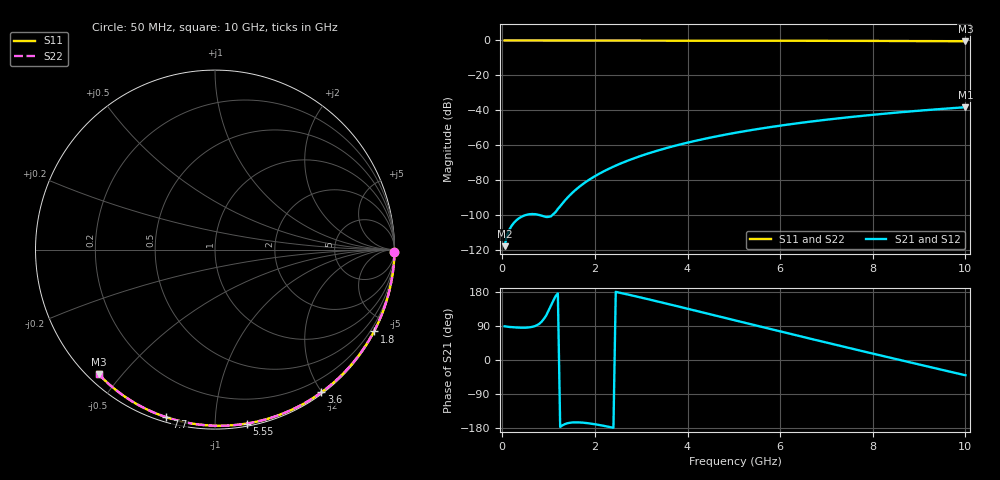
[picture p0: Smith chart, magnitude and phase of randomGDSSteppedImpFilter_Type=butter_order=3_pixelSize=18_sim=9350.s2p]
! freq	dB(S11)	phase(S11)	dB(S12)	phase(S12)
!  dB(S21)	phase(S21)	dB(S22)	phase(S22)
!S-par simulation data
#  GHz  S  DB  R 50
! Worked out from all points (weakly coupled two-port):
!   200 points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, 50 MHz to 10 GHz, reference 50 ohm
!   highest |S21| = -38.30 dB at 10 GHz (marker M1); lowest = -118.0 dB at 50 MHz (marker M2)
!   lowest |S11| = -0.4 dB at 10 GHz (marker M3), VSWR 38.72, Z = 1.54 - j21.8 ohm
!   |S11| at or under -10 dB: nowhere
!   |S22| runs from -0.4 to 0.0 dB; largest |S21 - S12| = 0
!   S11 on the Smith chart (normalised r, x): 50 MHz: open; 1.8 GHz: 0.04, -4.13; 3.6 GHz: 0.02, -1.99; 5.55 GHz: 0.02, -1.20; 7.7 GHz: 0.02, -0.75; 10 GHz: 0.03, -0.44
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0.05  -0.00 -0.8  -117.98 88.9  -117.98 88.9  -0.00 -0.8
0.9  -0.02 -13.8  -100.95 109.0  -100.95 109.0  -0.02 -13.8
1.75  -0.03 -26.5  -82.17 -165.5  -82.17 -165.5  -0.03 -26.5
1.8  -0.03 -27.3  -81.23 -166.1  -81.23 -166.1  -0.03 -27.3
1.85  -0.04 -28.0  -80.33 -166.8  -80.33 -166.8  -0.04 -28.0
1.9  -0.04 -28.7  -79.47 -167.7  -79.47 -167.7  -0.04 -28.8
2.05  -0.04 -31.0  -77.08 -170.6  -77.08 -170.6  -0.04 -31.0
2.25  -0.04 -33.9  -74.26 -175.1  -74.26 -175.1  -0.04 -33.9
2.45  -0.05 -36.8  -71.78 179.8  -71.78 179.8  -0.05 -36.8
2.65  -0.05 -39.7  -69.55 174.5  -69.55 174.5  -0.05 -39.8
3  -0.06 -44.8  -66.14 164.7  -66.14 164.7  -0.06 -44.8
3.4  -0.07 -50.5  -62.80 153.1  -62.80 153.1  -0.07 -50.5
3.6  -0.07 -53.3  -61.31 147.2  -61.31 147.2  -0.07 -53.3
4.3  -0.09 -63.0  -56.80 126.4  -56.80 126.4  -0.09 -63.0
5.05  -0.11 -73.0  -52.88 103.9  -52.88 103.9  -0.11 -73.1
5.55  -0.13 -79.6  -50.66 88.9  -50.66 88.9  -0.13 -79.6
6.1  -0.15 -86.6  -48.49 72.6  -48.49 72.6  -0.15 -86.6
6.7  -0.18 -94.1  -46.40 54.8  -46.40 54.8  -0.18 -94.1
7.7  -0.24 -106.2  -43.42 25.6  -43.42 25.6  -0.24 -106.3
8.35  -0.29 -113.9  -41.76 6.8  -41.76 6.8  -0.29 -114.0
9.15  -0.36 -123.2  -39.96 -16.1  -39.96 -16.1  -0.36 -123.3
10  -0.45 -132.9  -38.30 -40.3  -38.30 -40.3  -0.45 -133.0
